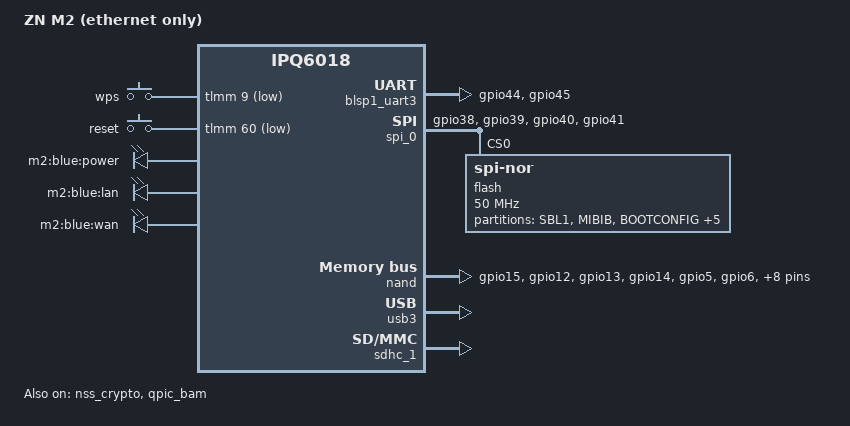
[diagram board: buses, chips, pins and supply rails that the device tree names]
// SPDX-License-Identifier: GPL-2.0-only
/*
 * ZN M2 board support (no WiFi, ethernet only)
 *
 * Copyright (c) 2021 AmadeusGhost <amadeus@jmu.edu.cn>
 */

#include "ipq6018-512m.dtsi"
#include "ipq6018-ess.dtsi"

/ {
	model = "ZN M2 (ethernet only)";
	compatible = "zn,m2", "qcom,ipq6018";

	aliases {
		serial0 = &blsp1_uart3;
	};

	chosen {
		bootargs = "root=/dev/ubiblock0_1 swiotlb=1";
	};

	gpio_keys {
		compatible = "gpio-keys";
		pinctrl-0 = <&button_pins>;
		pinctrl-names = "default";
		status = "ok";

		wps {
			label = "wps";
			linux,code = <KEY_WPS_BUTTON>;
			gpios = <&tlmm 9 GPIO_ACTIVE_LOW>;
			linux,input-type = <1>;
			debounce-interval = <60>;
		};

		reset {
			label = "reset";
			linux,code = <KEY_RESTART>;
			gpios = <&tlmm 60 GPIO_ACTIVE_LOW>;
			linux,input-type = <1>;
			debounce-interval = <60>;
		};
	};

	leds {
		compatible = "gpio-leds";
		pinctrl-0 = <&leds_pins>;
		pinctrl-names = "default";
		status = "ok";

		led_power: power {
			label = "m2:blue:power";
			gpio = <&tlmm 58 GPIO_ACTIVE_HIGH>;
		};

		lan {
			label = "m2:blue:lan";
			gpio = <&tlmm 74 GPIO_ACTIVE_HIGH>;
		};

		wan {
			label = "m2:blue:wan";
			gpio = <&tlmm 37 GPIO_ACTIVE_HIGH>;
		};
	};
};

&tlmm {
	button_pins: button_pins {
		wps_button {
			pins = "gpio9";
			function = "gpio";
			drive-strength = <8>;
			bias-pull-up;
		};
		reset_button {
			pins = "gpio60";
			function = "gpio";
			drive-strength = <8>;
			bias-pull-up;
		};
	};

	leds_pins: leds_pins {
		mux {
			pins = "gpio37", "gpio58", "gpio74";
			function = "gpio";
			drive-strength = <8>;
			bias-pull-down;
		};
	};

	uart_pins: uart_pins {
		mux {
			pins = "gpio44", "gpio45";
			function = "blsp2_uart";
			drive-strength = <8>;
			bias-pull-down;
		};
	};

	qpic_pins: qpic_pins {
		data_0 { pins = "gpio15"; function = "qpic_pad0"; drive-strength = <8>; bias-pull-down; };
		data_1 { pins = "gpio12"; function = "qpic_pad1"; drive-strength = <8>; bias-pull-down; };
		data_2 { pins = "gpio13"; function = "qpic_pad2"; drive-strength = <8>; bias-pull-down; };
		data_3 { pins = "gpio14"; function = "qpic_pad3"; drive-strength = <8>; bias-pull-down; };
		data_4 { pins = "gpio5";  function = "qpic_pad4"; drive-strength = <8>; bias-pull-down; };
		data_5 { pins = "gpio6";  function = "qpic_pad5"; drive-strength = <8>; bias-pull-down; };
		data_6 { pins = "gpio7";  function = "qpic_pad6"; drive-strength = <8>; bias-pull-down; };
		data_7 { pins = "gpio8";  function = "qpic_pad7"; drive-strength = <8>; bias-pull-down; };
		qpic_pad {
			pins = "gpio1", "gpio3", "gpio4", "gpio10", "gpio11", "gpio17";
			function = "qpic_pad";
			drive-strength = <8>;
			bias-pull-down;
		};
	};

	spi_0_pins: spi_0_pins {
		mux {
			pins = "gpio38", "gpio39", "gpio40", "gpio41";
			function = "blsp0_spi";
			drive-strength = <8>;
			bias-pull-down;
		};
	};
};

&blsp1_uart3 {
	pinctrl-0 = <&uart_pins>;
	pinctrl-names = "default";
	status = "ok";
};

&spi_0 {
	pinctrl-0 = <&spi_0_pins>;
	pinctrl-names = "default";
	cs-select = <0>;
	status = "ok";

	flash@0 {
		#address-cells = <1>;
		#size-cells = <1>;
		reg = <0>;
		compatible = "jedec,spi-nor";
		spi-max-frequency = <50000000>;
		use-default-sizes;

		partitions {
			compatible = "fixed-partitions";
			#address-cells = <1>;
			#size-cells = <1>;

			partition@0 {
				label = "SBL1";
				reg = <0x0000000 0x00040000>;
				read-only;
			};

			partition@40000 {
				label = "MIBIB";
				reg = <0x00040000 0x00040000>;
				read-only;
			};

			partition@80000 {
				label = "BOOTCONFIG";
				reg = <0x00080000 0x00040000>;
				read-only;
			};

			partition@c0000 {
				label = "APPSBLENV";
				reg = <0x000c0000 0x00040000>;
				read-only;
			};

			partition@100000 {
				label = "APPSBL";
				reg = <0x00100000 0x00040000>;
				read-only;
			};

			partition@140000 {
				label = "ART";
				reg = <0x00140000 0x00040000>;
				read-only;
			};

			partition@180000 {
				label = "kernel";
				reg = <0x00180000 0x00c00000>;
			};

			partition@780000 {
				label = "ubi";
				reg = <0x00780000 0x00880000>;
			};
		};
	};
};

&nand {
	pinctrl-0 = <&qpic_pins>;
	pinctrl-names = "default";
	status = "ok";
};

&nss_crypto {
	status = "ok";
};

&qpic_bam {
	status = "ok";
};

&usb3 {
	status = "ok";
};

&sdhc_1 {
	status = "ok";
};
